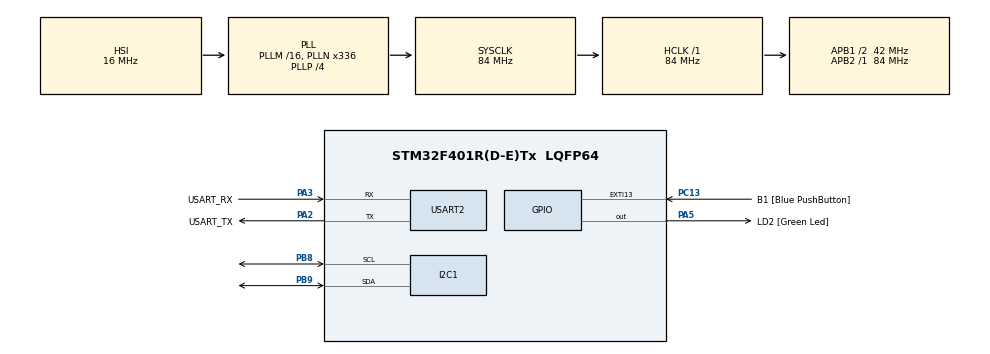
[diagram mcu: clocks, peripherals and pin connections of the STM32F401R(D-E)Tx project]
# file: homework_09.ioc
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Dma.I2C1_RX.0.Direction=DMA_PERIPH_TO_MEMORY
Dma.I2C1_RX.0.FIFOMode=DMA_FIFOMODE_DISABLE
Dma.I2C1_RX.0.Instance=DMA1_Stream0
Dma.I2C1_RX.0.MemDataAlignment=DMA_MDATAALIGN_BYTE
Dma.I2C1_RX.0.MemInc=DMA_MINC_ENABLE
Dma.I2C1_RX.0.Mode=DMA_NORMAL
Dma.I2C1_RX.0.PeriphDataAlignment=DMA_PDATAALIGN_BYTE
Dma.I2C1_RX.0.PeriphInc=DMA_PINC_DISABLE
Dma.I2C1_RX.0.Priority=DMA_PRIORITY_LOW
Dma.Request0=I2C1_RX
Dma.Request1=USART2_TX
Dma.USART2_TX.1.Direction=DMA_MEMORY_TO_PERIPH
Dma.USART2_TX.1.FIFOMode=DMA_FIFOMODE_DISABLE
Dma.USART2_TX.1.Instance=DMA1_Stream6
Dma.USART2_TX.1.MemDataAlignment=DMA_MDATAALIGN_BYTE
Dma.USART2_TX.1.MemInc=DMA_MINC_ENABLE
Dma.USART2_TX.1.Mode=DMA_NORMAL
Dma.USART2_TX.1.PeriphDataAlignment=DMA_PDATAALIGN_BYTE
Dma.USART2_TX.1.PeriphInc=DMA_PINC_DISABLE
Dma.USART2_TX.1.Priority=DMA_PRIORITY_LOW
Mcu.Family=STM32F4
Mcu.Name=STM32F401R(D-E)Tx
Mcu.Package=LQFP64
NVIC.DMA1_Stream0_IRQn=true\:0\:0\:false\:false\:true\:false\:true\:true
NVIC.DMA1_Stream6_IRQn=true\:0\:0\:false\:false\:true\:false\:true\:true
NVIC.I2C1_ER_IRQn=true\:0\:0\:false\:false\:true\:true\:true\:true
NVIC.I2C1_EV_IRQn=true\:0\:0\:false\:false\:true\:true\:true\:true
NVIC.PriorityGroup=NVIC_PRIORITYGROUP_4
NVIC.TIM2_IRQn=true\:0\:0\:false\:false\:true\:true\:true\:true
NVIC.USART2_IRQn=true\:0\:0\:false\:false\:true\:true\:true\:true
PA13.GPIO_Label=TMS
PA13.Mode=Trace_Asynchronous_SW
PA13.Signal=SYS_JTMS-SWDIO
PA14.GPIO_Label=TCK
PA14.Mode=Trace_Asynchronous_SW
PA14.Signal=SYS_JTCK-SWCLK
PA2.GPIO_Label=USART_TX
PA2.GPIO_Mode=GPIO_MODE_AF_PP
PA2.GPIO_PuPd=GPIO_NOPULL
PA2.GPIO_Speed=GPIO_SPEED_FREQ_LOW
PA2.Mode=Asynchronous
PA2.Signal=USART2_TX
PA3.GPIO_Label=USART_RX
PA3.GPIO_Mode=GPIO_MODE_AF_PP
PA3.GPIO_PuPd=GPIO_NOPULL
PA3.GPIO_Speed=GPIO_SPEED_FREQ_LOW
PA3.Mode=Asynchronous
PA3.Signal=USART2_RX
PA5.GPIO_Label=LD2 [Green Led]
PA5.GPIO_Mode=GPIO_MODE_OUTPUT_PP
PA5.GPIO_PuPd=GPIO_NOPULL
PA5.GPIO_Speed=GPIO_SPEED_FREQ_LOW
PA5.Signal=GPIO_Output
PB3.GPIO_Label=SWO
PB3.Mode=Trace_Asynchronous_SW
PB3.Signal=SYS_JTDO-SWO
PB8.Mode=I2C
PB8.Signal=I2C1_SCL
PB9.Mode=I2C
PB9.Signal=I2C1_SDA
PC13-ANTI_TAMP.GPIO_Label=B1 [Blue PushButton]
PC13-ANTI_TAMP.GPIO_ModeDefaultEXTI=GPIO_MODE_IT_FALLING
PC13-ANTI_TAMP.GPIO_PuPd=GPIO_NOPULL
PC13-ANTI_TAMP.Signal=GPXTI13
PC14-OSC32_IN.Mode=LSE-External-Oscillator
PC14-OSC32_IN.Signal=RCC_OSC32_IN
PC15-OSC32_OUT.Mode=LSE-External-Oscillator
PC15-OSC32_OUT.Signal=RCC_OSC32_OUT
PH0\ -\ OSC_IN.Mode=HSE-External-Clock-Source
PH0\ -\ OSC_IN.Signal=RCC_OSC_IN
PH1\ -\ OSC_OUT.Mode=HSE-External-Clock-Source
PH1\ -\ OSC_OUT.Signal=RCC_OSC_OUT
ProjectManager.HeapSize=0x200
ProjectManager.StackSize=0x400
ProjectManager.TargetToolchain=CMake
RCC.48MHZClocksFreq_Value=48000000
RCC.AHBFreq_Value=84000000
RCC.APB1CLKDivider=RCC_HCLK_DIV2
RCC.APB1Freq_Value=42000000
RCC.APB1TimFreq_Value=84000000
RCC.APB2Freq_Value=84000000
RCC.APB2TimFreq_Value=84000000
RCC.CortexFreq_Value=84000000
RCC.HCLKFreq_Value=84000000
RCC.HSE_VALUE=8000000
RCC.HSI_VALUE=16000000
RCC.PLLN=336
RCC.PLLP=RCC_PLLP_DIV4
RCC.PLLQ=7
RCC.SYSCLKFreq_VALUE=84000000
RCC.SYSCLKSource=RCC_SYSCLKSOURCE_PLLCLK
RCC.VCOOutputFreq_Value=336000000
TIM2.Period=10000-1
TIM2.Prescaler=8400-1
USART2.VirtualMode=VM_ASYNC
VP_TIM2_VS_ClockSourceINT.Mode=Internal
board=NUCLEO-F401RE

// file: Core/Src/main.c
/* USER CODE BEGIN Header */
/**
  ******************************************************************************
  * @file           : main.c
  * @brief          : Main program body
  ******************************************************************************
  * @attention
  *
  * Copyright (c) 2026 STMicroelectronics.
  * All rights reserved.
  *
  * This software is licensed under terms that can be found in the LICENSE file
  * in the root directory of this software component.
  * If no LICENSE file comes with this software, it is provided AS-IS.
  *
  ******************************************************************************
  */
/* USER CODE END Header */
#include "main.h"

/* USER CODE BEGIN Includes */
#include <stdio.h>
#include <string.h>
/* USER CODE END Includes */

I2C_HandleTypeDef hi2c1;
DMA_HandleTypeDef hdma_i2c1_rx;

TIM_HandleTypeDef htim2;

UART_HandleTypeDef huart2;
DMA_HandleTypeDef hdma_usart2_tx;

/* USER CODE BEGIN PV */
uint8_t raw_data[6];
int8_t raw_x, raw_y, raw_z;
float x, y, z;
int length;
char msg[128];
/* USER CODE END PV */

void SystemClock_Config(void);
static void MX_GPIO_Init(void);
static void MX_DMA_Init(void);
static void MX_I2C1_Init(void);
static void MX_TIM2_Init(void);
static void MX_USART2_UART_Init(void);

int main(void)
{

  /* MCU Configuration--------------------------------------------------------*/

  /* Reset of all peripherals, Initializes the Flash interface and the Systick. */
  HAL_Init();

  /* Configure the system clock */
  SystemClock_Config();

  /* Initialize all configured peripherals */
  MX_GPIO_Init();
  MX_DMA_Init();
  MX_I2C1_Init();
  MX_TIM2_Init();
  MX_USART2_UART_Init();
  /* USER CODE BEGIN 2 */
  uint8_t ctrl_reg1 = 0x17;
  HAL_I2C_Mem_Write(&hi2c1, 0x50, 0x20, I2C_MEMADD_SIZE_8BIT, &ctrl_reg1, 1, 100);
  HAL_TIM_Base_Start_IT(&htim2);
  /* USER CODE END 2 */

  /* Infinite loop */
  while (1)
  {

  }
}

void SystemClock_Config(void)
{
  RCC_OscInitTypeDef RCC_OscInitStruct = {0};
  RCC_ClkInitTypeDef RCC_ClkInitStruct = {0};

  /** Configure the main internal regulator output voltage
  */
  __HAL_RCC_PWR_CLK_ENABLE();
  __HAL_PWR_VOLTAGESCALING_CONFIG(PWR_REGULATOR_VOLTAGE_SCALE2);

  /** Initializes the RCC Oscillators according to the specified parameters
  * in the RCC_OscInitTypeDef structure.
  */
  RCC_OscInitStruct.OscillatorType = RCC_OSCILLATORTYPE_HSI;
  RCC_OscInitStruct.HSIState = RCC_HSI_ON;
  RCC_OscInitStruct.HSICalibrationValue = RCC_HSICALIBRATION_DEFAULT;
  RCC_OscInitStruct.PLL.PLLState = RCC_PLL_ON;
  RCC_OscInitStruct.PLL.PLLSource = RCC_PLLSOURCE_HSI;
  RCC_OscInitStruct.PLL.PLLM = 16;
  RCC_OscInitStruct.PLL.PLLN = 336;
  RCC_OscInitStruct.PLL.PLLP = RCC_PLLP_DIV4;
  RCC_OscInitStruct.PLL.PLLQ = 7;
  if (HAL_RCC_OscConfig(&RCC_OscInitStruct) != HAL_OK)
  {
    Error_Handler();
  }

  /** Initializes the CPU, AHB and APB buses clocks
  */
  RCC_ClkInitStruct.ClockType = RCC_CLOCKTYPE_HCLK|RCC_CLOCKTYPE_SYSCLK
                              |RCC_CLOCKTYPE_PCLK1|RCC_CLOCKTYPE_PCLK2;
  RCC_ClkInitStruct.SYSCLKSource = RCC_SYSCLKSOURCE_PLLCLK;
  RCC_ClkInitStruct.AHBCLKDivider = RCC_SYSCLK_DIV1;
  RCC_ClkInitStruct.APB1CLKDivider = RCC_HCLK_DIV2;
  RCC_ClkInitStruct.APB2CLKDivider = RCC_HCLK_DIV1;

  if (HAL_RCC_ClockConfig(&RCC_ClkInitStruct, FLASH_LATENCY_2) != HAL_OK)
  {
    Error_Handler();
  }
}

static void MX_I2C1_Init(void)
{

  hi2c1.Instance = I2C1;
  hi2c1.Init.ClockSpeed = 100000;
  hi2c1.Init.DutyCycle = I2C_DUTYCYCLE_2;
  hi2c1.Init.OwnAddress1 = 0;
  hi2c1.Init.AddressingMode = I2C_ADDRESSINGMODE_7BIT;
  hi2c1.Init.DualAddressMode = I2C_DUALADDRESS_DISABLE;
  hi2c1.Init.OwnAddress2 = 0;
  hi2c1.Init.GeneralCallMode = I2C_GENERALCALL_DISABLE;
  hi2c1.Init.NoStretchMode = I2C_NOSTRETCH_DISABLE;
  if (HAL_I2C_Init(&hi2c1) != HAL_OK)
  {
    Error_Handler();
  }

}

static void MX_TIM2_Init(void)
{

  TIM_ClockConfigTypeDef sClockSourceConfig = {0};
  TIM_MasterConfigTypeDef sMasterConfig = {0};

  htim2.Instance = TIM2;
  htim2.Init.Prescaler = 8400-1;
  htim2.Init.CounterMode = TIM_COUNTERMODE_UP;
  htim2.Init.Period = 10000-1;
  htim2.Init.ClockDivision = TIM_CLOCKDIVISION_DIV1;
  htim2.Init.AutoReloadPreload = TIM_AUTORELOAD_PRELOAD_DISABLE;
  if (HAL_TIM_Base_Init(&htim2) != HAL_OK)
  {
    Error_Handler();
  }
  sClockSourceConfig.ClockSource = TIM_CLOCKSOURCE_INTERNAL;
  if (HAL_TIM_ConfigClockSource(&htim2, &sClockSourceConfig) != HAL_OK)
  {
    Error_Handler();
  }
  sMasterConfig.MasterOutputTrigger = TIM_TRGO_RESET;
  sMasterConfig.MasterSlaveMode = TIM_MASTERSLAVEMODE_DISABLE;
  if (HAL_TIMEx_MasterConfigSynchronization(&htim2, &sMasterConfig) != HAL_OK)
  {
    Error_Handler();
  }

}

static void MX_USART2_UART_Init(void)
{

  huart2.Instance = USART2;
  huart2.Init.BaudRate = 115200;
  huart2.Init.WordLength = UART_WORDLENGTH_8B;
  huart2.Init.StopBits = UART_STOPBITS_1;
  huart2.Init.Parity = UART_PARITY_NONE;
  huart2.Init.Mode = UART_MODE_TX_RX;
  huart2.Init.HwFlowCtl = UART_HWCONTROL_NONE;
  huart2.Init.OverSampling = UART_OVERSAMPLING_16;
  if (HAL_UART_Init(&huart2) != HAL_OK)
  {
    Error_Handler();
  }

}

static void MX_DMA_Init(void)
{

  /* DMA controller clock enable */
  __HAL_RCC_DMA1_CLK_ENABLE();

  /* DMA interrupt init */
  /* DMA1_Stream0_IRQn interrupt configuration */
  HAL_NVIC_SetPriority(DMA1_Stream0_IRQn, 0, 0);
  HAL_NVIC_EnableIRQ(DMA1_Stream0_IRQn);
  /* DMA1_Stream6_IRQn interrupt configuration */
  HAL_NVIC_SetPriority(DMA1_Stream6_IRQn, 0, 0);
  HAL_NVIC_EnableIRQ(DMA1_Stream6_IRQn);

}

static void MX_GPIO_Init(void)
{
  GPIO_InitTypeDef GPIO_InitStruct = {0};

  /* GPIO Ports Clock Enable */
  __HAL_RCC_GPIOC_CLK_ENABLE();
  __HAL_RCC_GPIOH_CLK_ENABLE();
  __HAL_RCC_GPIOA_CLK_ENABLE();
  __HAL_RCC_GPIOB_CLK_ENABLE();

  /*Configure GPIO pin Output Level */
  HAL_GPIO_WritePin(LD2_GPIO_Port, LD2_Pin, GPIO_PIN_RESET);

  /*Configure GPIO pin : B1_Pin */
  GPIO_InitStruct.Pin = B1_Pin;
  GPIO_InitStruct.Mode = GPIO_MODE_IT_FALLING;
  GPIO_InitStruct.Pull = GPIO_NOPULL;
  HAL_GPIO_Init(B1_GPIO_Port, &GPIO_InitStruct);

  /*Configure GPIO pin : LD2_Pin */
  GPIO_InitStruct.Pin = LD2_Pin;
  GPIO_InitStruct.Mode = GPIO_MODE_OUTPUT_PP;
  GPIO_InitStruct.Pull = GPIO_NOPULL;
  GPIO_InitStruct.Speed = GPIO_SPEED_FREQ_LOW;
  HAL_GPIO_Init(LD2_GPIO_Port, &GPIO_InitStruct);

}

/* USER CODE BEGIN 4 */
void HAL_TIM_PeriodElapsedCallback(TIM_HandleTypeDef *htim)
{
    if (htim == &htim2)
    {
        HAL_I2C_Mem_Read_DMA(&hi2c1, 0x50, 0x28 | 0x80, I2C_MEMADD_SIZE_8BIT, raw_data, 6);
    }
}

void HAL_I2C_MemRxCpltCallback(I2C_HandleTypeDef *hi2c)
{
    if (hi2c == &hi2c1)
    {
        raw_x = (int16_t)raw_data[1];
        raw_y = (int16_t)raw_data[3];
        raw_z = (int16_t)raw_data[5];

        x = (float)raw_x * 0.0156;
        y = (float)raw_y * 0.0156;
        z = (float)raw_z * 0.0156;

        length = snprintf(msg, sizeof(msg), "X: %.2f g\r\nY: %.2f g\r\nZ: %.2f g\r\n\r\n", x, y, z);
        HAL_UART_Transmit_DMA(&huart2, (uint8_t*)msg, length);
    }
}
/* USER CODE END 4 */

void Error_Handler(void)
{
  __disable_irq();
  while (1)
  {
  }
}
